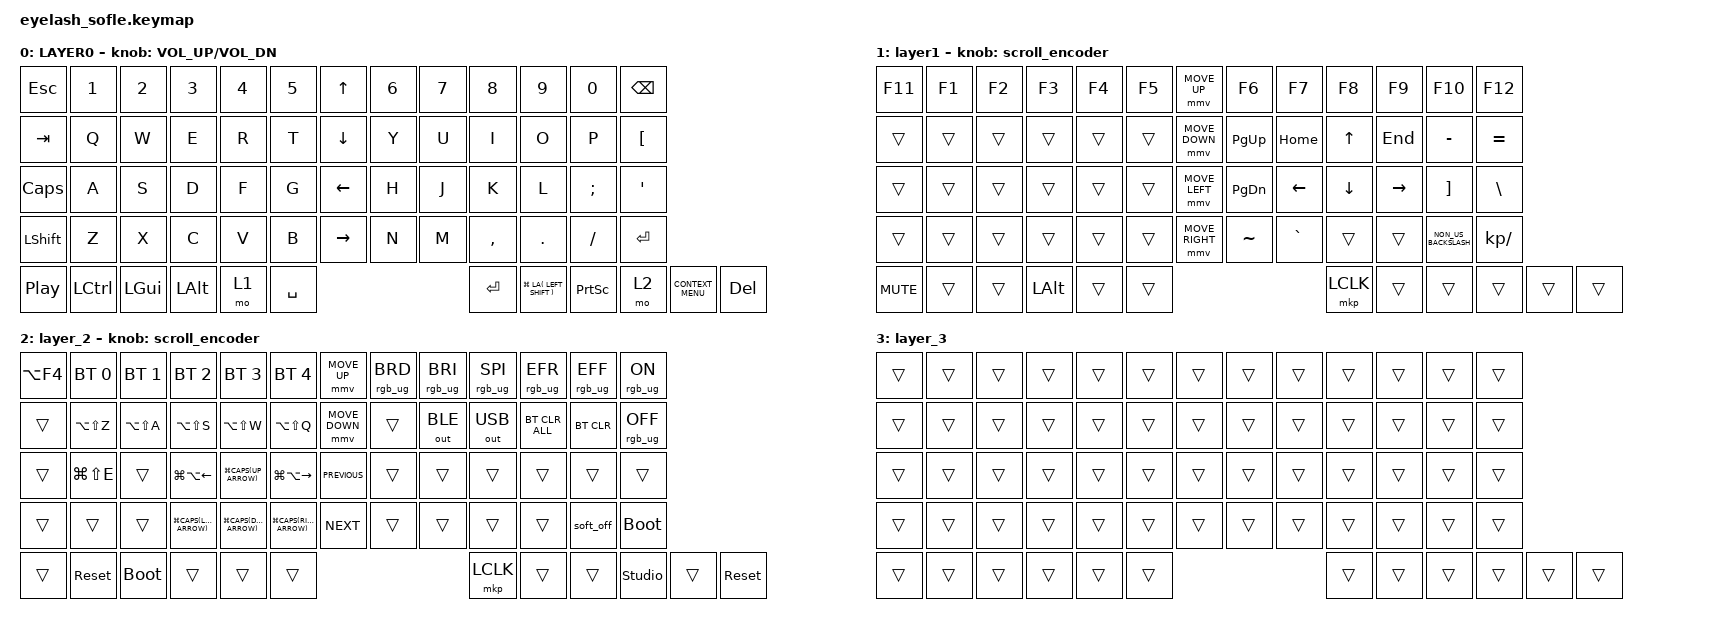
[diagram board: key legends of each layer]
#define ZMK_POINTING_DEFAULT_MOVE_VAL 1200  // 600
#define ZMK_POINTING_DEFAULT_SCRL_VAL 25   // 10

#include <input/processors.dtsi>
#include <zephyr/dt-bindings/input/input-event-codes.h>
#include <behaviors.dtsi>
#include <dt-bindings/zmk/bt.h>
#include <dt-bindings/zmk/ext_power.h>
#include <dt-bindings/zmk/keys.h>
#include <dt-bindings/zmk/pointing.h>
#include <dt-bindings/zmk/rgb.h>
#include <dt-bindings/zmk/outputs.h>

&mmv_input_listener { input-processors = <&zip_xy_scaler 2 1>; };

&msc_input_listener { input-processors = <&zip_scroll_scaler 2 1>; };

&msc {
    acceleration-exponent = <1>;      // 0
    time-to-max-speed-ms = <100>;       // 300
    delay-ms = <0>;                   // 0
};

&mmv {
    time-to-max-speed-ms = <500>;
    acceleration-exponent = <1>;
    trigger-period-ms = <16>;
};


/ {

    scroll_encoder: scroll_encoder {
        compatible = "zmk,behavior-sensor-rotate";
        #sensor-binding-cells = <0>;
        bindings = <&msc SCRL_DOWN>, <&msc SCRL_UP>;
        tap-ms = <100>;
    };

    keymap {
        compatible = "zmk,keymap";

        layer0 {
            bindings = <
&kp ESC     &kp N1     &kp N2        &kp N3        &kp N4  &kp N5       &kp UP_ARROW     &kp N6     &kp N7     &kp N8     &kp N9           &kp N0      &kp BACKSPACE
&kp TAB     &kp Q      &kp W         &kp E         &kp R   &kp T        &kp DOWN_ARROW   &kp Y      &kp U      &kp I      &kp O            &kp P       &kp LEFT_BRACKET
&kp CAPS    &kp A      &kp S         &kp D         &kp F   &kp G        &kp LEFT_ARROW   &kp H      &kp J      &kp K      &kp L            &kp SEMI    &kp APOS
&kp LSHFT   &kp Z      &kp X         &kp C         &kp V   &kp B        &kp RIGHT_ARROW  &kp N      &kp M      &kp COMMA  &kp DOT          &kp FSLH    &kp ENTER
&kp C_PLAY_PAUSE  &kp LCTRL  &kp LEFT_GUI  &kp LEFT_ALT  &mo 1   &kp SPACE    &kp ENTER        &kp LG( LA( LEFT_SHIFT ) )  &kp PRINTSCREEN  &mo 2      &kp K_CONTEXT_MENU  &kp DELETE
            >;

            sensor-bindings = <&inc_dec_kp C_VOLUME_UP C_VOL_DN>;
            display-name = "LAYER0";
        };

        layer_1 {
            bindings = <
&kp F11   &kp F1           &kp F2          &kp F3           &kp F4           &kp F5             &mmv MOVE_UP     &kp F6           &kp F7           &kp F8      &kp F9     &kp F10           &kp F12
&trans      &trans        &trans       &trans        &trans        &trans           &mmv MOVE_DOWN   &kp PG_UP        &kp HOME          &kp UP      &kp END   &kp MINUS         &kp EQUAL
&trans      &trans        &trans          &trans           &trans           &trans           &mmv MOVE_LEFT   &kp PG_DN        &kp LEFT         &kp DOWN    &kp RIGHT  &kp RIGHT_BRACKET  &kp BSLH
&trans      &trans  &trans  &trans  &trans  &trans    &mmv MOVE_RIGHT  &kp TILDE  &kp GRAVE  &trans  &trans    &kp NON_US_BACKSLASH           &kp KP_DIVIDE
&kp C_MUTE  &trans           &trans          &kp LEFT_ALT     &trans           &trans             &mkp LCLK        &trans  &trans &trans      &trans     &trans
            >;

            display-name = "layer1";
            sensor-bindings = <&scroll_encoder>;
        };

        layer_2 {
            bindings = <
&kp LA(F4)  &bt BT_SEL 0  &bt BT_SEL 1    &bt BT_SEL 2  &bt BT_SEL 3  &bt BT_SEL 4    &mmv MOVE_UP     &rgb_ug RGB_BRD  &rgb_ug RGB_BRI  &rgb_ug RGB_SPI      &rgb_ug RGB_EFR     &rgb_ug RGB_EFF      &rgb_ug RGB_ON
&trans      &kp LA(LS(Z))    &kp LA(LS(A))  &kp LA(LS(S))        &kp LA(LS(W))        &kp LA(LS(Q))          &mmv MOVE_DOWN   &trans  &out OUT_BLE  &out OUT_USB      &bt BT_CLR_ALL    &bt BT_CLR    &rgb_ug RGB_OFF
&trans     &kp LG(LS(E))  &trans    &kp LG(LA(LEFT_ARROW))        &kp LG(CAPS(UP_ARROW))        &kp LG(LA(RIGHT_ARROW))          &kp C_PREVIOUS   &trans  &trans  &trans      &trans     &trans     &trans
&trans     &trans    &trans          &kp LG(CAPS(LEFT_ARROW))   &kp LG(CAPS(DOWN_ARROW))        &kp LG(CAPS(RIGHT_ARROW))          &kp C_NEXT  &trans  &trans  &trans  &trans  &soft_off  &bootloader
&trans     &sys_reset        &bootloader          &trans        &trans        &trans          &mkp LCLK        &trans  &trans  &studio_unlock      &trans     &sys_reset
            >;

            sensor-bindings = <&scroll_encoder>;
        };

        layer_3 {
            bindings = <
&trans  &trans  &trans  &trans  &trans  &trans    &trans  &trans  &trans  &trans  &trans  &trans  &trans
&trans  &trans  &trans  &trans  &trans  &trans    &trans  &trans  &trans  &trans  &trans  &trans  &trans
&trans  &trans  &trans  &trans  &trans  &trans    &trans  &trans  &trans  &trans  &trans  &trans  &trans
&trans  &trans  &trans  &trans  &trans  &trans    &trans  &trans  &trans  &trans  &trans  &trans  &trans
&trans  &trans  &trans  &trans  &trans  &trans    &trans  &trans  &trans  &trans  &trans  &trans
            >;
        };
    };
};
